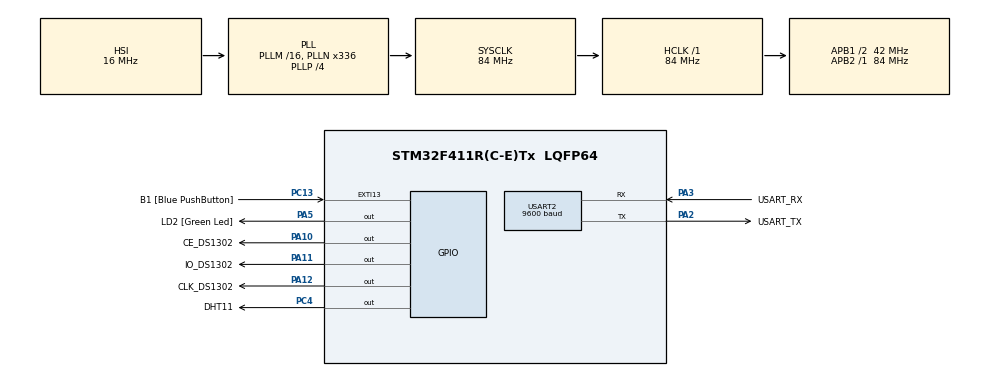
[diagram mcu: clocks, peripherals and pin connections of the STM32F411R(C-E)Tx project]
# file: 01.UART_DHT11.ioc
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Mcu.Family=STM32F4
Mcu.Name=STM32F411R(C-E)Tx
Mcu.Package=LQFP64
NVIC.PriorityGroup=NVIC_PRIORITYGROUP_0
NVIC.TIM1_TRG_COM_TIM11_IRQn=true\:0\:0\:false\:false\:true\:true\:true\:true
NVIC.TIM1_UP_TIM10_IRQn=true\:0\:0\:false\:false\:true\:true\:true\:true
PA10.GPIO_Label=CE_DS1302
PA10.Signal=GPIO_Output
PA11.GPIO_Label=IO_DS1302
PA11.Signal=GPIO_Output
PA12.GPIO_Label=CLK_DS1302
PA12.Signal=GPIO_Output
PA13.GPIO_Label=TMS
PA13.Mode=Serial_Wire
PA13.Signal=SYS_JTMS-SWDIO
PA14.GPIO_Label=TCK
PA14.Mode=Serial_Wire
PA14.Signal=SYS_JTCK-SWCLK
PA2.GPIO_Label=USART_TX
PA2.Mode=Asynchronous
PA2.Signal=USART2_TX
PA3.GPIO_Label=USART_RX
PA3.Mode=Asynchronous
PA3.Signal=USART2_RX
PA5.GPIO_Label=LD2 [Green Led]
PA5.Signal=GPIO_Output
PB3.GPIO_Label=SWO
PB3.Signal=SYS_JTDO-SWO
PC13-ANTI_TAMP.GPIO_Label=B1 [Blue PushButton]
PC13-ANTI_TAMP.GPIO_ModeDefaultEXTI=GPIO_MODE_IT_FALLING
PC13-ANTI_TAMP.Signal=GPXTI13
PC14-OSC32_IN.Mode=LSE-External-Oscillator
PC14-OSC32_IN.Signal=RCC_OSC32_IN
PC15-OSC32_OUT.Mode=LSE-External-Oscillator
PC15-OSC32_OUT.Signal=RCC_OSC32_OUT
PC4.GPIO_Label=DHT11
PC4.Signal=GPIO_Output
PH0\ -\ OSC_IN.Mode=HSE-External-Clock-Source
PH0\ -\ OSC_IN.Signal=RCC_OSC_IN
PH1\ -\ OSC_OUT.Mode=HSE-External-Clock-Source
PH1\ -\ OSC_OUT.Signal=RCC_OSC_OUT
ProjectManager.HeapSize=0x200
ProjectManager.StackSize=0x400
ProjectManager.TargetToolchain=STM32CubeIDE
RCC.48MHZClocksFreq_Value=84000000
RCC.AHBFreq_Value=84000000
RCC.APB1CLKDivider=RCC_HCLK_DIV2
RCC.APB1Freq_Value=42000000
RCC.APB1TimFreq_Value=84000000
RCC.APB2Freq_Value=84000000
RCC.APB2TimFreq_Value=84000000
RCC.CortexFreq_Value=84000000
RCC.FLatency-AdvancedSettings=FLASH_LATENCY_2
RCC.HCLKFreq_Value=84000000
RCC.HSE_VALUE=8000000
RCC.HSI_VALUE=16000000
RCC.PLLN=336
RCC.PLLP=RCC_PLLP_DIV4
RCC.SYSCLKFreq_VALUE=84000000
RCC.SYSCLKSource=RCC_SYSCLKSOURCE_PLLCLK
RCC.VCOOutputFreq_Value=336000000
TIM10.Period=1000-1
TIM10.Prescaler=84-1
TIM11.Period=1000
TIM11.Prescaler=83
USART2.BaudRate=9600
USART2.VirtualMode=VM_ASYNC
VP_TIM10_VS_ClockSourceINT.Mode=Enable_Timer
VP_TIM11_VS_ClockSourceINT.Mode=Enable_Timer
board=NUCLEO-F411RE

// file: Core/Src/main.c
/* USER CODE BEGIN Header */
/**
  ******************************************************************************
  * @file           : main.c
  * @brief          : Main program body
  ******************************************************************************
  * @attention
  *
  * Copyright (c) 2025 STMicroelectronics.
  * All rights reserved.
  *
  * This software is licensed under terms that can be found in the LICENSE file
  * in the root directory of this software component.
  * If no LICENSE file comes with this software, it is provided AS-IS.
  *
  ******************************************************************************
  */
/* USER CODE END Header */
#include "main.h"

TIM_HandleTypeDef htim10;
TIM_HandleTypeDef htim11;

UART_HandleTypeDef huart2;

/* USER CODE BEGIN PV */
volatile int TIM10_counter = 0;		//
/* USER CODE END PV */

void SystemClock_Config(void);
static void MX_GPIO_Init(void);
static void MX_USART2_UART_Init(void);
static void MX_TIM11_Init(void);
static void MX_TIM10_Init(void);
/* USER CODE BEGIN PFP */
extern void dht11_main(void);
void delay_us(unsigned long us);
/* USER CODE END PFP */

/* USER CODE BEGIN 0 */

#ifdef __GNUC__    // Add for printf
/* With GCC, small printf (option LD Linker->Libraries->Small printf
   set to 'Yes') calls __io_putchar() */
#define PUTCHAR_PROTOTYPE int __io_putchar(int ch)
#else
#define PUTCHAR_PROTOTYPE int fputc(int ch, FILE *f)
#endif /* __GNUC__ */
/**
  * @brief  Retargets the C library printf function to the USART.
  * @param  None
  * @retval None
  */
PUTCHAR_PROTOTYPE   // Add for printf
{
  /* Place your implementation of fputc here */
  /* e.g. write a character to the USART3 and Loop until the end of transmission */
  HAL_UART_Transmit(&huart2, (uint8_t *)&ch, 1, 0xFFFF);

  return ch;
}
/*
 *  1MHz : 0.000001sec (1us)
 *         0.001us  : 1ms : 1000us
 *         0.1sec(100ms) : 100,000us
 */
void delay_us(unsigned long us)
{
	__HAL_TIM_SET_COUNTER(&htim11,0);   // tim11 timer counter clear
	while (__HAL_TIM_GET_COUNTER(&htim11) < us)
		;
}

void HAL_TIM_PeriodElapsedCallback(TIM_HandleTypeDef *htim)
{
	if(htim->Instance == TIM10)
	{
		TIM10_counter++;
	}
}

void demoboard_led2_onoff()
{
	static int led2_toggle = 0;
	// HAL_GPIO_WritePin 함수 이용

	if(TIM10_counter >= 500)	// 500ms
	{
		TIM10_counter = 0;
#if 1
		if(!led2_toggle)
			HAL_GPIO_WritePin(GPIOA, GPIO_PIN_5, 1);
		else HAL_GPIO_WritePin(GPIOA, GPIO_PIN_5, 0);
		led2_toggle = !led2_toggle;
//		if(HAL_GPIO_ReadPin(GPIOA, GPIO_PIN_5) == 0)
//			HAL_GPIO_WritePin(GPIOA, GPIO_PIN_5, 1);
//		else
//			HAL_GPIO_WritePin(GPIOA, GPIO_PIN_5, 0);
#else
		HAL_GPIO_TogglePin(GPIOA, GPIO_PIN_5);
#endif
	}
}
/* USER CODE END 0 */

int main(void)
{

  /* MCU Configuration--------------------------------------------------------*/

  /* Reset of all peripherals, Initializes the Flash interface and the Systick. */
  HAL_Init();

  /* Configure the system clock */
  SystemClock_Config();

  /* Initialize all configured peripherals */
  MX_GPIO_Init();
  MX_USART2_UART_Init();
  MX_TIM11_Init();
  MX_TIM10_Init();
  /* USER CODE BEGIN 2 */
  HAL_TIM_Base_Start(&htim11);
  HAL_TIM_Base_Start_IT(&htim10);

  //dht11_main();
  /* USER CODE END 2 */

  /* Infinite loop */
  while (1)
  {

    /* USER CODE BEGIN 3 */
	  ds1302_main();
  }
  /* USER CODE END 3 */
}

void SystemClock_Config(void)
{
  RCC_OscInitTypeDef RCC_OscInitStruct = {0};
  RCC_ClkInitTypeDef RCC_ClkInitStruct = {0};

  /** Configure the main internal regulator output voltage
  */
  __HAL_RCC_PWR_CLK_ENABLE();
  __HAL_PWR_VOLTAGESCALING_CONFIG(PWR_REGULATOR_VOLTAGE_SCALE1);

  /** Initializes the RCC Oscillators according to the specified parameters
  * in the RCC_OscInitTypeDef structure.
  */
  RCC_OscInitStruct.OscillatorType = RCC_OSCILLATORTYPE_HSI;
  RCC_OscInitStruct.HSIState = RCC_HSI_ON;
  RCC_OscInitStruct.HSICalibrationValue = RCC_HSICALIBRATION_DEFAULT;
  RCC_OscInitStruct.PLL.PLLState = RCC_PLL_ON;
  RCC_OscInitStruct.PLL.PLLSource = RCC_PLLSOURCE_HSI;
  RCC_OscInitStruct.PLL.PLLM = 16;
  RCC_OscInitStruct.PLL.PLLN = 336;
  RCC_OscInitStruct.PLL.PLLP = RCC_PLLP_DIV4;
  RCC_OscInitStruct.PLL.PLLQ = 4;
  if (HAL_RCC_OscConfig(&RCC_OscInitStruct) != HAL_OK)
  {
    Error_Handler();
  }

  /** Initializes the CPU, AHB and APB buses clocks
  */
  RCC_ClkInitStruct.ClockType = RCC_CLOCKTYPE_HCLK|RCC_CLOCKTYPE_SYSCLK
                              |RCC_CLOCKTYPE_PCLK1|RCC_CLOCKTYPE_PCLK2;
  RCC_ClkInitStruct.SYSCLKSource = RCC_SYSCLKSOURCE_PLLCLK;
  RCC_ClkInitStruct.AHBCLKDivider = RCC_SYSCLK_DIV1;
  RCC_ClkInitStruct.APB1CLKDivider = RCC_HCLK_DIV2;
  RCC_ClkInitStruct.APB2CLKDivider = RCC_HCLK_DIV1;

  if (HAL_RCC_ClockConfig(&RCC_ClkInitStruct, FLASH_LATENCY_2) != HAL_OK)
  {
    Error_Handler();
  }
}

static void MX_TIM10_Init(void)
{

  htim10.Instance = TIM10;
  htim10.Init.Prescaler = 84-1;
  htim10.Init.CounterMode = TIM_COUNTERMODE_UP;
  htim10.Init.Period = 1000-1;
  htim10.Init.ClockDivision = TIM_CLOCKDIVISION_DIV1;
  htim10.Init.AutoReloadPreload = TIM_AUTORELOAD_PRELOAD_DISABLE;
  if (HAL_TIM_Base_Init(&htim10) != HAL_OK)
  {
    Error_Handler();
  }

}

static void MX_TIM11_Init(void)
{

  htim11.Instance = TIM11;
  htim11.Init.Prescaler = 83;
  htim11.Init.CounterMode = TIM_COUNTERMODE_UP;
  htim11.Init.Period = 1000;
  htim11.Init.ClockDivision = TIM_CLOCKDIVISION_DIV1;
  htim11.Init.AutoReloadPreload = TIM_AUTORELOAD_PRELOAD_DISABLE;
  if (HAL_TIM_Base_Init(&htim11) != HAL_OK)
  {
    Error_Handler();
  }

}

static void MX_USART2_UART_Init(void)
{

  huart2.Instance = USART2;
  huart2.Init.BaudRate = 9600;
  huart2.Init.WordLength = UART_WORDLENGTH_8B;
  huart2.Init.StopBits = UART_STOPBITS_1;
  huart2.Init.Parity = UART_PARITY_NONE;
  huart2.Init.Mode = UART_MODE_TX_RX;
  huart2.Init.HwFlowCtl = UART_HWCONTROL_NONE;
  huart2.Init.OverSampling = UART_OVERSAMPLING_16;
  if (HAL_UART_Init(&huart2) != HAL_OK)
  {
    Error_Handler();
  }

}

static void MX_GPIO_Init(void)
{
  GPIO_InitTypeDef GPIO_InitStruct = {0};

  /* GPIO Ports Clock Enable */
  __HAL_RCC_GPIOC_CLK_ENABLE();
  __HAL_RCC_GPIOH_CLK_ENABLE();
  __HAL_RCC_GPIOA_CLK_ENABLE();
  __HAL_RCC_GPIOB_CLK_ENABLE();

  /*Configure GPIO pin Output Level */
  HAL_GPIO_WritePin(GPIOA, LD2_Pin|CE_DS1302_Pin|IO_DS1302_Pin|CLK_DS1302_Pin, GPIO_PIN_RESET);

  /*Configure GPIO pin Output Level */
  HAL_GPIO_WritePin(DHT11_GPIO_Port, DHT11_Pin, GPIO_PIN_RESET);

  /*Configure GPIO pin : B1_Pin */
  GPIO_InitStruct.Pin = B1_Pin;
  GPIO_InitStruct.Mode = GPIO_MODE_IT_FALLING;
  GPIO_InitStruct.Pull = GPIO_NOPULL;
  HAL_GPIO_Init(B1_GPIO_Port, &GPIO_InitStruct);

  /*Configure GPIO pins : LD2_Pin CE_DS1302_Pin IO_DS1302_Pin CLK_DS1302_Pin */
  GPIO_InitStruct.Pin = LD2_Pin|CE_DS1302_Pin|IO_DS1302_Pin|CLK_DS1302_Pin;
  GPIO_InitStruct.Mode = GPIO_MODE_OUTPUT_PP;
  GPIO_InitStruct.Pull = GPIO_NOPULL;
  GPIO_InitStruct.Speed = GPIO_SPEED_FREQ_LOW;
  HAL_GPIO_Init(GPIOA, &GPIO_InitStruct);

  /*Configure GPIO pin : DHT11_Pin */
  GPIO_InitStruct.Pin = DHT11_Pin;
  GPIO_InitStruct.Mode = GPIO_MODE_OUTPUT_PP;
  GPIO_InitStruct.Pull = GPIO_NOPULL;
  GPIO_InitStruct.Speed = GPIO_SPEED_FREQ_LOW;
  HAL_GPIO_Init(DHT11_GPIO_Port, &GPIO_InitStruct);

}

void Error_Handler(void)
{
  __disable_irq();
  while (1)
  {
  }
}
